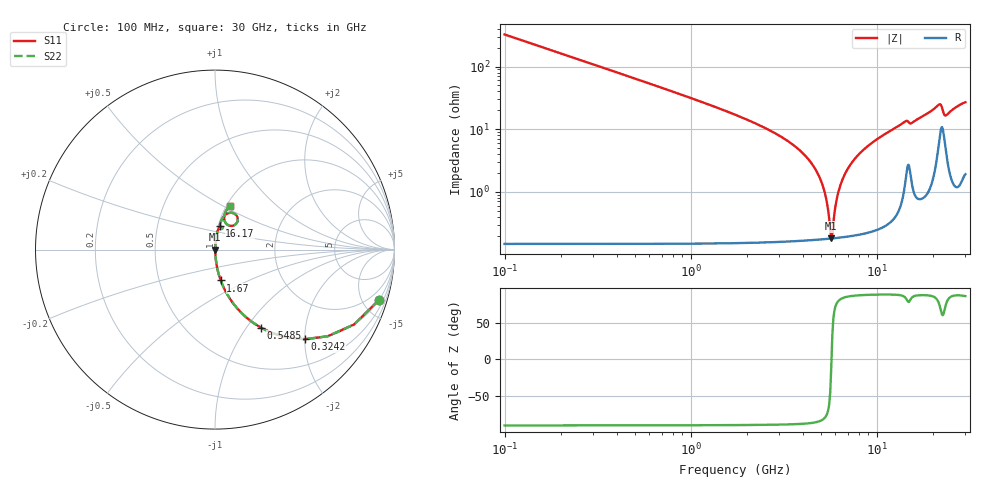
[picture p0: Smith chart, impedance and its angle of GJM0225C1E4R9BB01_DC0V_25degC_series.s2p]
!Murata Part Number: GJM0225C1E4R9BB01
!These Parameters are Measured in Series Mode Connection
!  o--ll--o
!Port1  Port2
!  o------o
!Operation Temp=25[degC], DC Bias Voltage=0[V]
!Freq. Start=100[MHz] Stop=30[GHz], 401[Steps]
!Data Generated on Feb 1, 2023
# Hz S RI R 50
!Freq.(Hz) S11(Real) S11(Imag) S21(Real) S21(Imag) S12(Real) S12(Imag) S22(Real) S22(Imag)
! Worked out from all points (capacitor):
!   401 points, 100 MHz to 30 GHz, reference 50 ohm
!   read as one part in series: C = 4.9 pF near 249.5 MHz
!   lowest |Z| = 181 mohm at 5.706 GHz (marker M1)
!   series resonance near 5.719 GHz, so ESL is about 160 pH
!   S11 on the Smith chart (normalised r, x): 100 MHz: 1.00, -6.49; 324.2 MHz: 1.00, -2.00; 548.5 MHz: 1.00, -1.17; 1.67 GHz: 1.00, -0.36; 16.17 GHz: 1.02, +0.27; 30 GHz: 1.04, +0.54
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1e8  0.9133 -0.2812  0.0867 0.2812  0.0867 0.2812  0.9133 -0.2812
3.2425e8  0.4993 -0.4993  0.5007 0.4993  0.5007 0.4993  0.4993 -0.4993
5.485e8  0.2566 -0.4355  0.7434 0.4355  0.7434 0.4355  0.2566 -0.4355
9.2225e8  0.1063 -0.3061  0.8937 0.3061  0.8937 0.3061  0.1063 -0.3061
1.66975e9  0.0321 -0.172  0.9679 0.172  0.9679 0.172  0.0321 -0.172
4.1365e9  0.00306 -0.0374  0.9969 0.0374  0.9969 0.0374  0.00306 -0.0374
5.10825e9  0.0019 -0.0129  0.9981 0.0129  0.9981 0.0129  0.0019 -0.0129
5.70625e9  0.00179 -0.000262  0.9982 0.000262  0.9982 0.000262  0.00179 -0.000262
5.85575e9  0.00181 0.00268  0.9982 -0.00268  0.9982 -0.00268  0.00181 0.00268
6.08e9  0.00187 0.00696  0.9981 -0.00696  0.9981 -0.00696  0.00187 0.00696
6.30425e9  0.00197 0.0111  0.998 -0.0111  0.998 -0.0111  0.00197 0.0111
6.977e9  0.00244 0.0228  0.9976 -0.0228  0.9976 -0.0228  0.00244 0.0228
8.24775e9  0.00393 0.0428  0.9961 -0.0428  0.9961 -0.0428  0.00393 0.0428
1.01165e10  0.00731 0.0693  0.9927 -0.0693  0.9927 -0.0693  0.00731 0.0693
1.4153e10  0.0281 0.1254  0.9719 -0.1254  0.9719 -0.1254  0.0281 0.1254
1.505e10  0.0362 0.115  0.9638 -0.115  0.9638 -0.115  0.0362 0.115
1.617125e10  0.0265 0.1326  0.9735 -0.1326  0.9735 -0.1326  0.0265 0.1326
2.005825e10  0.0534 0.1894  0.9466 -0.1894  0.9466 -0.1894  0.0534 0.1894
2.185225e10  0.1144 0.1957  0.8856 -0.1957  0.8856 -0.1957  0.1144 0.1957
2.334725e10  0.0724 0.1368  0.9276 -0.1368  0.9276 -0.1368  0.0724 0.1368
2.50665e10  0.0511 0.1813  0.9489 -0.1813  0.9489 -0.1813  0.0511 0.1813
3e10  0.0823 0.2415  0.9177 -0.2415  0.9177 -0.2415  0.0823 0.2415
